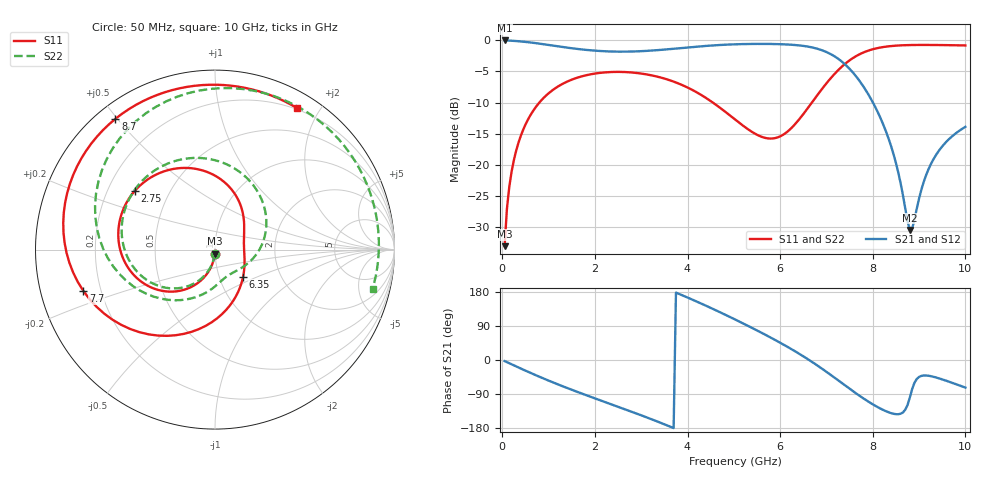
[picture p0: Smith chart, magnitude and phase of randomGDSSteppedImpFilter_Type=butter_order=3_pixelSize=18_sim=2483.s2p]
! freq	dB(S11)	phase(S11)	dB(S12)	phase(S12)
!  dB(S21)	phase(S21)	dB(S22)	phase(S22)
!S-par simulation data
#  GHz  S  DB  R 50
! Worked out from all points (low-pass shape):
!   200 points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, 50 MHz to 10 GHz, reference 50 ohm
!   highest |S21| = 0.00 dB at 50 MHz (marker M1); lowest = -30.5 dB at 8.8 GHz (marker M2)
!   |S21| within 3 dB of the highest: start of sweep to 7.261 GHz
!   lowest |S11| = -33.1 dB at 50 MHz (marker M3), VSWR 1.05, Z = 49.8 - j2.19 ohm
!   |S11| at or under -10 dB: start of sweep to 801.4 MHz; 4.545 GHz to 6.686 GHz (2.141 GHz wide, 38.1 % of centre)
!   |S22| runs from -33.1 to -0.7 dB; largest |S21 - S12| = 0
!   S11 on the Smith chart (normalised r, x): 50 MHz: 1.00, -0.04; 2.75 GHz: 0.32, +0.30; 6.35 GHz: 1.30, -0.41; 7.7 GHz: 0.13, -0.15; 8.7 GHz: 0.05, +0.49; 10 GHz: 0.18, +1.72
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0.05  -33.14 -92.8  -0.00 -2.8  -0.00 -2.8  -33.15 -93.1
0.1  -27.13 -95.7  -0.01 -5.7  -0.01 -5.7  -27.14 -96.2
0.2  -21.17 -101.2  -0.05 -11.4  -0.05 -11.4  -21.18 -102.3
0.5  -13.56 -117.3  -0.24 -28.1  -0.24 -28.1  -13.56 -119.9
1.1  -7.93 -147.0  -0.84 -59.4  -0.84 -59.4  -7.93 -152.8
1.75  -5.72 -175.8  -1.48 -90.0  -1.48 -90.0  -5.72 174.6
2.75  -5.13 143.7  -1.79 -134.5  -1.79 -134.5  -5.13 126.5
3.4  -5.93 117.1  -1.54 -164.8  -1.54 -164.8  -5.94 93.2
4.25  -8.58 80.4  -0.97 151.4  -0.97 151.4  -8.60 43.8
5.05  -12.87 44.7  -0.62 105.6  -0.62 105.6  -12.96 -9.7
5.7  -15.74 9.5  -0.56 65.4  -0.56 65.4  -15.83 -54.0
6.35  -13.25 -43.9  -0.75 21.0  -0.75 21.0  -13.19 -94.4
6.7  -9.86 -74.9  -1.14 -6.0  -1.14 -6.0  -9.82 -120.5
7.2  -5.19 -119.1  -2.68 -48.9  -2.68 -48.9  -5.19 -165.8
7.45  -3.48 -141.3  -4.20 -71.4  -4.20 -71.4  -3.48 169.5
7.7  -2.28 -162.6  -6.37 -93.3  -6.37 -93.3  -2.28 145.0
8.05  -1.32 169.9  -10.67 -120.5  -10.67 -120.5  -1.30 112.6
8.35  -0.94 149.0  -16.01 -138.4  -16.01 -138.4  -0.91 87.7
8.7  -0.76 127.3  -26.98 -131.4  -26.98 -131.4  -0.73 61.6
8.8  -0.74 121.5  -30.51 -99.1  -30.51 -99.1  -0.71 54.7
9.3  -0.73 94.6  -19.28 -44.0  -19.28 -44.0  -0.71 23.3
10  -0.81 60.0  -13.91 -72.9  -13.91 -72.9  -0.87 -14.0
